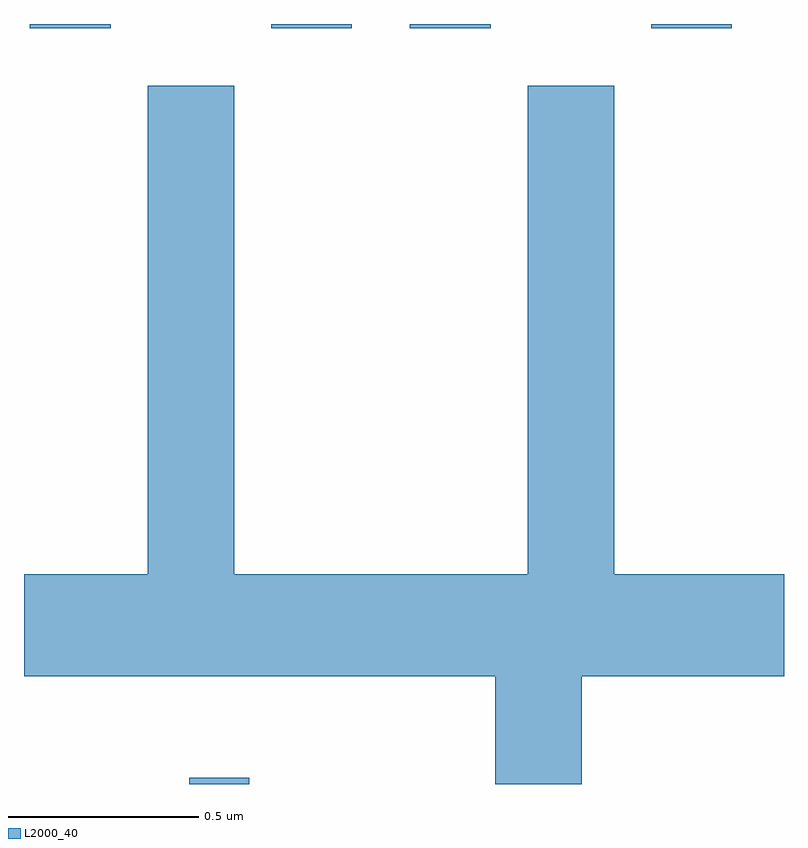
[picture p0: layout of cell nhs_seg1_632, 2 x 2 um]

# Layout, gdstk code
import gdstk
lib = gdstk.Library(unit=1e-6, precision=1e-09)
def R(c, l, rs):  # rectangles x0, y0, x1, y1
    for r in rs: c.add(gdstk.rectangle(r[:2], r[2:], *l))
def P(c, l, *ps):  # polygons
    for p in ps: c.add(gdstk.Polygon(p, *l))
L2000_40 = (2000, 40)

nhs_seg1_632 = lib.new_cell('nhs_seg1_632')
R(nhs_seg1_632, L2000_40, [(190.046,923.712,190.204,923.728), (189.626,925.701,189.839,925.712), (190.261,925.701,190.474,925.712), (190.626,925.701,190.839,925.712), (191.261,925.701,191.474,925.712)])
P(nhs_seg1_632, L2000_40, [(191.079,923.996),(191.611,923.996),(191.611,924.264),(191.164,924.264),(191.164,925.549),(190.936,925.549),(190.936,924.264),(190.164,924.264),(190.164,925.549),(189.936,925.549),(189.936,924.264),(189.611,924.264),(189.611,923.996),(190.851,923.996),(190.851,923.712),(191.079,923.712)])

lib.write_gds('nhs_seg1_632.gds')
